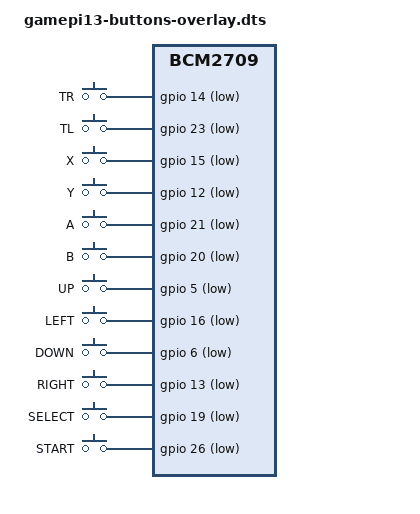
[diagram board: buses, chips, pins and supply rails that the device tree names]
/dts-v1/;
/plugin/;

/ {
    compatible = "brcm,bcm2835", "brcm,bcm2708", "brcm,bcm2709";

    fragment@0 {
        target = <&gpio>;
        __overlay__ {
            button_pins: button_pins {
                brcm,pins = <14 23 15 12 21 20 5 16 6 13 19 26>;
                brcm,function = <0>; /* input */
                brcm,pull = <2>; /* pull-up */
            };
        };
    };

    fragment@1 {
        target-path = "/";
        __overlay__ {
            gpio_keys {
                compatible = "gpio-keys";
                pinctrl-names = "default";
                pinctrl-0 = <&button_pins>;
                status = "okay";

                button_r: button@0 {
                    label = "TR";
                    linux,code = <0x137>; /* BTN_TR */
                    gpios = <&gpio 14 1>; /* GPIO14, active low */
                    debounce-interval = <20>;
                };

                button_l: button@1 {
                    label = "TL";
                    linux,code = <0x136>; /* BTN_TL */
                    gpios = <&gpio 23 1>;
                    debounce-interval = <20>;
                };

                button_x: button@2 {
                    label = "X";
                    linux,code = <0x133>; /* BTN_NORTH */
                    gpios = <&gpio 15 1>;
                    debounce-interval = <20>;
                };

                button_y: button@3 {
                    label = "Y";
                    linux,code = <0x134>; /* BTN_WEST */
                    gpios = <&gpio 12 1>;
                    debounce-interval = <20>;
                };

                button_a: button@4 {
                    label = "A";
                    linux,code = <0x131>; /* BTN_EAST */
                    gpios = <&gpio 21 1>;
                    debounce-interval = <20>;
                };

                button_b: button@5 {
                    label = "B";
                    linux,code = <0x130>; /* BTN_SOUTH */
                    gpios = <&gpio 20 1>;
                    debounce-interval = <20>;
                };

                button_up: button@6 {
                    label = "UP";
                    linux,code = <103>; /* KEY_UP */
                    gpios = <&gpio 5 1>;
                    debounce-interval = <20>;
                };

                button_left: button@7 {
                    label = "LEFT";
                    linux,code = <105>; /* KEY_LEFT */
                    gpios = <&gpio 16 1>;
                    debounce-interval = <20>;
                };

                button_down: button@8 {
                    label = "DOWN";
                    linux,code = <108>; /* KEY_DOWN */
                    gpios = <&gpio 6 1>;
                    debounce-interval = <20>;
                };

                button_right: button@9 {
                    label = "RIGHT";
                    linux,code = <106>; /* KEY_RIGHT */
                    gpios = <&gpio 13 1>;
                    debounce-interval = <20>;
                };

                button_select: button@10 {
                    label = "SELECT";
                    linux,code = <0x13a>; /* BTN_SELECT */
                    gpios = <&gpio 19 1>;
                    debounce-interval = <20>;
                };

                button_start: button@11 {
                    label = "START";
                    linux,code = <0x13b>; /* BTN_START */
                    gpios = <&gpio 26 1>;
                    debounce-interval = <20>;
                };
            };
        };
    };
};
